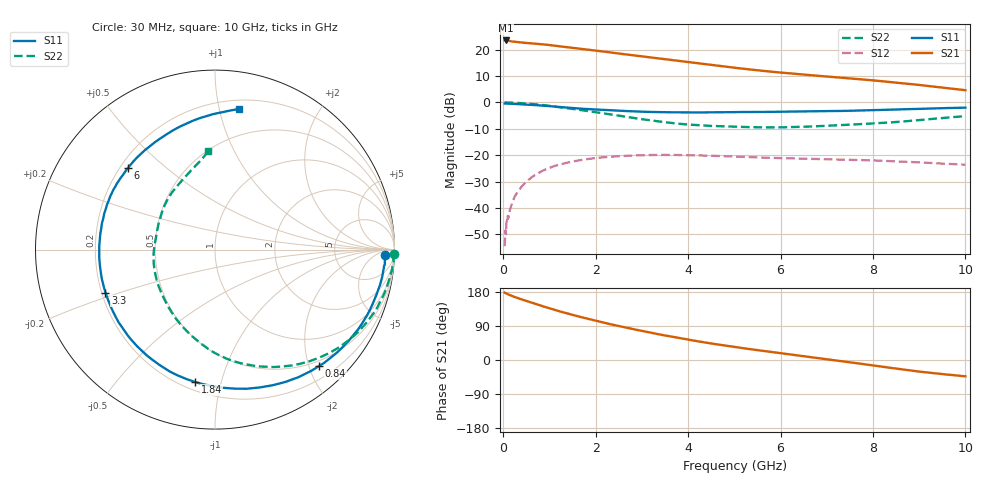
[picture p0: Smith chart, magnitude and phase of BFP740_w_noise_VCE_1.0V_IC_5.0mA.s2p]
! Infineon Technologies  Discrete & RF Semiconductors
! BFP740
! VCE =  1.0 V,  IC =  5.0 mA
! Common Emitter S-Parameters:  Jan 2016
# GHz  S  MA  R  50
!  f  S11  S21  S12  S22
! GHz  MAG  ANG  MAG  ANG  MAG  ANG  MAG  ANG
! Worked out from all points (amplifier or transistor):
!   229 points, 30 MHz to 10 GHz, reference 50 ohm
!   highest |S21| = 23.4 dB at 50 MHz (marker M1)
!   |S21| within 3 dB of that: start of sweep to 1.624 GHz
!   unconditionally stable (mu >= 1): 7.841 GHz to end of sweep
!   at 280 MHz: K = 0.10, MSG = 28.8 dB, |S12| = -34.8 dB
!   at 1.78 GHz: K = 0.24, MSG = 20.8 dB, |S12| = -21.6 dB
!   at 10 GHz: K = 1.24, MAG = 11.2 dB, |S12| = -23.6 dB
!   lowest NFmin = 0.44 dB at 450 MHz
!   S11 on the Smith chart (normalised r, x): 30 MHz: 28, -17; 840 MHz: 0.41, -2.18; 1.84 GHz: 0.25, -0.83; 3.3 GHz: 0.22, -0.18; 6 GHz: 0.23, +0.38; 10 GHz: 0.27, +1.15
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0.03  0.9502 -1.8  14.75 177.7  0.0019 77.0  0.9969 -1.4
0.05  0.9517 -3.0  14.84 176.6  0.0038 94.1  0.9985 -2.3
0.13  0.9449 -7.9  14.53 171.8  0.008 84.3  0.9931 -5.9
0.38  0.9244 -22.3  13.61 160.7  0.0243 75.5  0.9674 -16.8
0.6  0.901 -34.7  13.1 151.8  0.0373 68.2  0.9365 -25.9
0.84  0.8701 -48.1  12.59 142.5  0.0502 59.3  0.8929 -35.5
1.18  0.8234 -66.0  11.62 129.9  0.0651 48.3  0.8199 -48.8
1.4  0.795 -77.2  11.05 122.4  0.0728 42.2  0.7742 -56.5
1.7  0.7591 -92.0  10.32 112.7  0.0816 34.4  0.7104 -66.7
1.84  0.7458 -98.5  9.957 108.5  0.085 30.9  0.6826 -71.4
2.22  0.7136 -115.5  9.029 97.2  0.0921 22.1  0.6104 -84.0
2.5  0.6941 -127.3  8.411 89.6  0.0959 16.4  0.561 -92.8
2.88  0.6728 -142.5  7.652 79.7  0.0993 9.2  0.4994 -104.8
3.3  0.6557 -158.5  6.901 69.4  0.101 2.0  0.4437 -119.0
3.4  0.6529 -162.2  6.731 67.0  0.1012 0.3  0.4319 -122.5
3.8  0.6465 -175.8  6.091 58.0  0.1008 -5.9  0.3941 -136.1
4.3  0.6447 169.5  5.364 47.5  0.0988 -12.4  0.3666 -152.5
5.1  0.6551 151.4  4.42 32.7  0.0937 -20.9  0.344 -174.4
6  0.6641 136.9  3.667 18.0  0.088 -27.4  0.3369 165.4
6.8  0.6776 125.3  3.188 5.4  0.0847 -32.5  0.3535 149.1
8.4  0.7286 99.7  2.417 -21.0  0.0773 -42.5  0.4186 118.3
10  0.795 80.3  1.698 -43.1  0.0663 -47.5  0.5486 94.1
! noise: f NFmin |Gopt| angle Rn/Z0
0.45  0.44  0.4  11  0.23
0.9  0.45  0.41  17  0.22
1.5  0.49  0.39  26  0.21
1.9  0.52  0.38  42  0.21
2.4  0.55  0.38  46  0.2
3.5  0.65  0.35  68  0.18
5.5  0.87  0.24  164  0.16
10  1.52  0.55  -82  0.21
